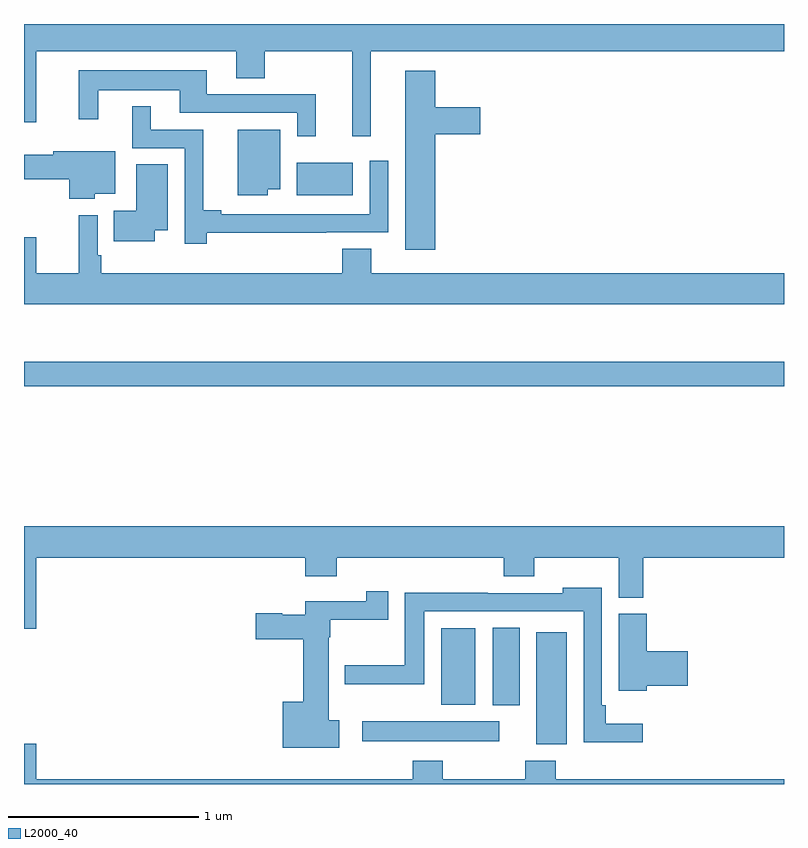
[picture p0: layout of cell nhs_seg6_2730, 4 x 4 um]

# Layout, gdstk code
import gdstk
lib = gdstk.Library(unit=1e-6, precision=1e-09)
def R(c, l, rs):  # rectangles x0, y0, x1, y1
    for r in rs: c.add(gdstk.rectangle(r[:2], r[2:], *l))
def P(c, l, *ps):  # polygons
    for p in ps: c.add(gdstk.Polygon(p, *l))
L2000_40 = (2000, 40)

nhs_seg6_2730 = lib.new_cell('nhs_seg6_2730')
R(nhs_seg6_2730, L2000_40, [(275.696,923.708,275.857,924.298), (274.779,923.726,275.5,923.83), (275.468,923.915,275.608,924.323), (275.195,923.918,275.374,924.319), (273,925.594,277,925.723), (274.436,926.6,274.729,926.77)])
P(nhs_seg6_2730, L2000_40, [(274.826,927.356),(277,927.356),(277,927.5),(273,927.5),(273,926.982),(273.064,926.982),(273.064,927.356),(274.118,927.356),(274.118,927.214),(274.266,927.214),(274.266,927.356),(274.727,927.356),(274.727,926.91),(274.826,926.91)],
  [(274.535,927.129),(273.961,927.129),(273.961,927.256),(273.287,927.256),(273.287,927),(273.391,927),(273.391,927.152),(273.821,927.152),(273.821,927.033),(274.437,927.033),(274.437,926.91),(274.535,926.91)],
  [(275.165,926.921),(275.401,926.921),(275.401,927.063),(275.165,927.063),(275.165,927.253),(275.006,927.253),(275.006,926.313),(275.165,926.313)],
  [(273.962,926.402),(274.592,926.402),(274.592,926.403),(274.917,926.403),(274.917,926.779),(274.821,926.779),(274.821,926.499),(274.039,926.499),(274.039,926.519),(273.944,926.519),(273.944,926.943),(273.667,926.943),(273.667,927.067),(273.569,927.067),(273.569,926.847),(273.846,926.847),(273.846,926.343),(273.962,926.343)],
  [(274.282,926.63),(274.348,926.63),(274.348,926.944),(274.124,926.944),(274.124,926.6),(274.282,926.6)],
  [(273.372,926.606),(273.481,926.606),(273.481,926.83),(273.155,926.83),(273.155,926.812),(273,926.812),(273,926.683),(273.239,926.683),(273.239,926.579),(273.372,926.579)],
  [(273.688,926.414),(273.757,926.414),(273.757,926.762),(273.59,926.762),(273.59,926.518),(273.472,926.518),(273.472,926.357),(273.688,926.357)],
  [(277,926.188),(274.828,926.188),(274.828,926.318),(274.676,926.318),(274.676,926.188),(273.407,926.188),(273.407,926.284),(273.387,926.284),(273.387,926.494),(273.289,926.494),(273.289,926.188),(273.064,926.188),(273.064,926.377),(273,926.377),(273,926.024),(277,926.024)],
  [(273,924.318),(273.064,924.318),(273.064,924.692),(274.481,924.692),(274.481,924.593),(274.646,924.593),(274.646,924.692),(275.525,924.692),(275.525,924.593),(275.685,924.593),(275.685,924.692),(276.131,924.692),(276.131,924.481),(276.26,924.481),(276.26,924.692),(277,924.692),(277,924.856),(273,924.856)],
  [(276.256,923.818),(276.062,923.818),(276.062,923.914),(276.042,923.914),(276.042,924.532),(275.835,924.532),(275.835,924.504),(275.441,924.504),(275.441,924.506),(275.003,924.506),(275.003,924.126),(274.688,924.126),(274.688,924.026),(275.107,924.026),(275.107,924.408),(275.946,924.408),(275.946,923.72),(276.256,923.72)],
  [(274.66,923.835),(274.603,923.835),(274.603,924.273),(274.611,924.273),(274.611,924.364),(274.918,924.364),(274.918,924.514),(274.801,924.514),(274.801,924.463),(274.481,924.463),(274.481,924.391),(274.359,924.391),(274.359,924.399),(274.221,924.399),(274.221,924.262),(274.469,924.262),(274.469,923.932),(274.361,923.932),(274.361,923.69),(274.66,923.69)],
  [(276.278,924.017),(276.493,924.017),(276.493,924.2),(276.278,924.2),(276.278,924.396),(276.131,924.396),(276.131,923.99),(276.278,923.99)],
  [(277,923.524),(275.798,923.524),(275.798,923.623),(275.638,923.623),(275.638,923.524),(275.205,923.524),(275.205,923.623),(275.045,923.623),(275.045,923.524),(273.064,923.524),(273.064,923.713),(273,923.713),(273,923.5),(277,923.5)])

lib.write_gds('nhs_seg6_2730.gds')
